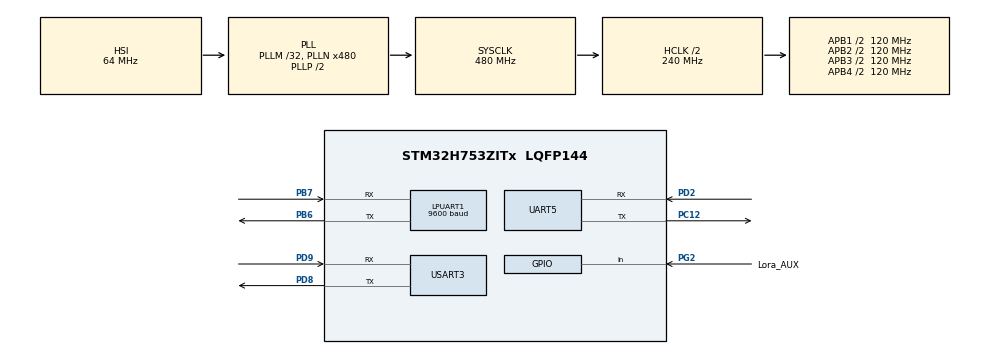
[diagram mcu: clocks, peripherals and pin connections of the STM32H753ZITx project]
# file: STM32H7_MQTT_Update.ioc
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Bdma.LPUART1_RX.0.Direction=DMA_PERIPH_TO_MEMORY
Bdma.LPUART1_RX.0.EventEnable=DISABLE
Bdma.LPUART1_RX.0.Instance=BDMA_Channel0
Bdma.LPUART1_RX.0.MemDataAlignment=DMA_MDATAALIGN_BYTE
Bdma.LPUART1_RX.0.MemInc=DMA_MINC_ENABLE
Bdma.LPUART1_RX.0.Mode=DMA_NORMAL
Bdma.LPUART1_RX.0.PeriphDataAlignment=DMA_PDATAALIGN_BYTE
Bdma.LPUART1_RX.0.PeriphInc=DMA_PINC_DISABLE
Bdma.LPUART1_RX.0.Polarity=HAL_DMAMUX_REQ_GEN_RISING
Bdma.LPUART1_RX.0.Priority=DMA_PRIORITY_LOW
Bdma.LPUART1_RX.0.RequestNumber=1
Bdma.LPUART1_RX.0.SignalID=NONE
Bdma.LPUART1_RX.0.SyncEnable=DISABLE
Bdma.LPUART1_RX.0.SyncPolarity=HAL_DMAMUX_SYNC_NO_EVENT
Bdma.LPUART1_RX.0.SyncRequestNumber=1
Bdma.LPUART1_RX.0.SyncSignalID=NONE
Bdma.LPUART1_TX.1.Direction=DMA_MEMORY_TO_PERIPH
Bdma.LPUART1_TX.1.EventEnable=DISABLE
Bdma.LPUART1_TX.1.Instance=BDMA_Channel1
Bdma.LPUART1_TX.1.MemDataAlignment=DMA_MDATAALIGN_BYTE
Bdma.LPUART1_TX.1.MemInc=DMA_MINC_ENABLE
Bdma.LPUART1_TX.1.Mode=DMA_NORMAL
Bdma.LPUART1_TX.1.PeriphDataAlignment=DMA_PDATAALIGN_BYTE
Bdma.LPUART1_TX.1.PeriphInc=DMA_PINC_DISABLE
Bdma.LPUART1_TX.1.Polarity=HAL_DMAMUX_REQ_GEN_RISING
Bdma.LPUART1_TX.1.Priority=DMA_PRIORITY_LOW
Bdma.LPUART1_TX.1.RequestNumber=1
Bdma.LPUART1_TX.1.SignalID=NONE
Bdma.LPUART1_TX.1.SyncEnable=DISABLE
Bdma.LPUART1_TX.1.SyncPolarity=HAL_DMAMUX_SYNC_NO_EVENT
Bdma.LPUART1_TX.1.SyncRequestNumber=1
Bdma.LPUART1_TX.1.SyncSignalID=NONE
Bdma.Request0=LPUART1_RX
Bdma.Request1=LPUART1_TX
Bdma.RequestsNb=2
CORTEX_M7.CPU_DCache=Enabled
CORTEX_M7.CPU_ICache=Enabled
CORTEX_M7.default_mode_Activation=1
Dma.Request0=UART5_RX
Dma.UART5_RX.0.Direction=DMA_PERIPH_TO_MEMORY
Dma.UART5_RX.0.EventEnable=DISABLE
Dma.UART5_RX.0.FIFOMode=DMA_FIFOMODE_DISABLE
Dma.UART5_RX.0.Instance=DMA1_Stream0
Dma.UART5_RX.0.MemDataAlignment=DMA_MDATAALIGN_BYTE
Dma.UART5_RX.0.MemInc=DMA_MINC_ENABLE
Dma.UART5_RX.0.Mode=DMA_NORMAL
Dma.UART5_RX.0.PeriphDataAlignment=DMA_PDATAALIGN_BYTE
Dma.UART5_RX.0.PeriphInc=DMA_PINC_DISABLE
Dma.UART5_RX.0.Polarity=HAL_DMAMUX_REQ_GEN_RISING
Dma.UART5_RX.0.Priority=DMA_PRIORITY_LOW
Dma.UART5_RX.0.RequestNumber=1
Dma.UART5_RX.0.SignalID=NONE
Dma.UART5_RX.0.SyncEnable=DISABLE
Dma.UART5_RX.0.SyncPolarity=HAL_DMAMUX_SYNC_NO_EVENT
Dma.UART5_RX.0.SyncRequestNumber=1
Dma.UART5_RX.0.SyncSignalID=NONE
FREERTOS.Tasks01=defaultTask,24,1024,StartDefaultTask,Default,NULL,Dynamic,NULL,NULL
FREERTOS.configCHECK_FOR_STACK_OVERFLOW=2
FREERTOS.configTOTAL_HEAP_SIZE=40960
LPUART1.BaudRate=9600
Mcu.Family=STM32H7
Mcu.Name=STM32H753ZITx
Mcu.Package=LQFP144
NVIC.BDMA_Channel0_IRQn=true\:5\:0\:false\:false\:true\:true\:false\:true\:true
NVIC.BDMA_Channel1_IRQn=true\:5\:0\:false\:false\:true\:true\:false\:true\:true
NVIC.DMA1_Stream0_IRQn=true\:5\:0\:false\:false\:true\:true\:false\:true\:true
NVIC.LPUART1_IRQn=true\:5\:0\:false\:false\:true\:true\:true\:true\:true
NVIC.PriorityGroup=NVIC_PRIORITYGROUP_4
NVIC.TIM6_DAC_IRQn=true\:15\:0\:false\:false\:true\:false\:false\:true\:true
NVIC.TimeBase=TIM6_DAC_IRQn
NVIC.TimeBaseIP=TIM6
NVIC.UART5_IRQn=true\:5\:0\:false\:false\:true\:true\:true\:true\:true
PA13\ (JTMS/SWDIO).Mode=Serial_Wire
PA13\ (JTMS/SWDIO).Signal=DEBUG_JTMS-SWDIO
PA14\ (JTCK/SWCLK).Mode=Serial_Wire
PA14\ (JTCK/SWCLK).Signal=DEBUG_JTCK-SWCLK
PB6.Mode=Asynchronous
PB6.Signal=LPUART1_TX
PB7.Mode=Asynchronous
PB7.Signal=LPUART1_RX
PC12.Mode=Asynchronous
PC12.Signal=UART5_TX
PC14-OSC32_IN\ (OSC32_IN).Mode=LSE-External-Oscillator
PC14-OSC32_IN\ (OSC32_IN).Signal=RCC_OSC32_IN
PC15-OSC32_OUT\ (OSC32_OUT).Mode=LSE-External-Oscillator
PC15-OSC32_OUT\ (OSC32_OUT).Signal=RCC_OSC32_OUT
PD2.Mode=Asynchronous
PD2.Signal=UART5_RX
PD8.Mode=Asynchronous
PD8.Signal=USART3_TX
PD9.Mode=Asynchronous
PD9.Signal=USART3_RX
PG2.GPIO_Label=Lora_AUX
PG2.GPIO_PuPd=GPIO_PULLUP
PG2.Signal=GPIO_Input
PH0-OSC_IN\ (PH0).Mode=HSE-External-Clock-Source
PH0-OSC_IN\ (PH0).Signal=RCC_OSC_IN
ProjectManager.HeapSize=0x800
ProjectManager.StackSize=0x800
ProjectManager.TargetToolchain=CMake
RCC.ADCFreq_Value=129000000
RCC.APB1Freq_Value=120000000
RCC.APB2Freq_Value=120000000
RCC.APB3Freq_Value=120000000
RCC.APB4Freq_Value=120000000
RCC.CortexFreq_Value=480000000
RCC.D1PPRE=RCC_APB3_DIV2
RCC.D2PPRE1=RCC_APB1_DIV2
RCC.D2PPRE2=RCC_APB2_DIV2
RCC.D3PPRE=RCC_APB4_DIV2
RCC.DIVN1=480
RCC.HCLKFreq_Value=240000000
RCC.HPRE=RCC_HCLK_DIV2
RCC.HSE_VALUE=8000000
RCC.LPUART1CLockSelection=RCC_LPUART1CLKSOURCE_LSE
RCC.SYSCLKFreq_VALUE=480000000
RCC.SYSCLKSource=RCC_SYSCLKSOURCE_PLLCLK
RCC.USBFreq_Value=480000000
STMicroelectronics.X-CUBE-AI.10.2.0.ActivationBufferSizeList=2100
STMicroelectronics.X-CUBE-AI.10.2.0.ActivationBuffers=pool0
STMicroelectronics.X-CUBE-AI.10.2.0.ActivationNames=pool0
STMicroelectronics.X-CUBE-AI.10.2.0.ActivationSizes=AI_FARM_AI_DATA_ACTIVATION_1_SIZE
STMicroelectronics.X-CUBE-AI.10.2.0.HeapSize=0x800
STMicroelectronics.X-CUBE-AI.10.2.0.InternalRamActivationBufferMaxSize=AI_FARM_AI_DATA_ACTIVATIONS_SIZE
STMicroelectronics.X-CUBE-AI.10.2.0.LatestDirectoryUsed-e6167a8946215340fb5c40464bc6d3310cde0bbccf74e58a0443c29fbbd5c75b=D\:\\CubeMX\\pythonProject1\\Project\\.venv
STMicroelectronics.X-CUBE-AI.10.2.0.MaximumNumberOfInputLayer=1
STMicroelectronics.X-CUBE-AI.10.2.0.MaximumNumberOfOutputLayer=1
STMicroelectronics.X-CUBE-AI.10.2.0.MaximumSizeOfInputLayer=1
STMicroelectronics.X-CUBE-AI.10.2.0.MaximumSizeOfOutputLayer=1
STMicroelectronics.X-CUBE-AI.10.2.0.ModelActualCompression-e6167a8946215340fb5c40464bc6d3310cde0bbccf74e58a0443c29fbbd5c75b=0.0
STMicroelectronics.X-CUBE-AI.10.2.0.ModelCompression-e6167a8946215340fb5c40464bc6d3310cde0bbccf74e58a0443c29fbbd5c75b=None
STMicroelectronics.X-CUBE-AI.10.2.0.ModelFlashOccupation-e6167a8946215340fb5c40464bc6d3310cde0bbccf74e58a0443c29fbbd5c75b=12860
STMicroelectronics.X-CUBE-AI.10.2.0.ModelHashList=e6167a8946215340fb5c40464bc6d3310cde0bbccf74e58a0443c29fbbd5c75b
STMicroelectronics.X-CUBE-AI.10.2.0.ModelKind-e6167a8946215340fb5c40464bc6d3310cde0bbccf74e58a0443c29fbbd5c75b=TFLITE
STMicroelectronics.X-CUBE-AI.10.2.0.ModelMacc-e6167a8946215340fb5c40464bc6d3310cde0bbccf74e58a0443c29fbbd5c75b=424
STMicroelectronics.X-CUBE-AI.10.2.0.ModelName-e6167a8946215340fb5c40464bc6d3310cde0bbccf74e58a0443c29fbbd5c75b=farm_ai
STMicroelectronics.X-CUBE-AI.10.2.0.ModelNameList=farm_ai
STMicroelectronics.X-CUBE-AI.10.2.0.ModelRamOccupation-e6167a8946215340fb5c40464bc6d3310cde0bbccf74e58a0443c29fbbd5c75b=2100
STMicroelectronics.X-CUBE-AI.10.2.0.ModelStructureFile-e6167a8946215340fb5c40464bc6d3310cde0bbccf74e58a0443c29fbbd5c75b=D\:\\CubeMX\\pythonProject1\\Project\\.venv\\farm_ai_multiclass.tflite
STMicroelectronics.X-CUBE-AI.10.2.0.ModelType-e6167a8946215340fb5c40464bc6d3310cde0bbccf74e58a0443c29fbbd5c75b=STM32Cube.AI MCU runtime
STMicroelectronics.X-CUBE-AI.10.2.0.ReadyForCodeGeneration=true
STMicroelectronics.X-CUBE-AI.10.2.0.StackSize=0x800
STMicroelectronics.X-CUBE-AI.10.2.0.WorkingBufferStartAddrList=0xFFFFFFFF
STMicroelectronics.X-CUBE-AI.10.2.0.XAaCUBEAaAICcArtificialOoIntelligenceJjCore=true
STMicroelectronics.X-CUBE-AI.10.2.0.copyWeightToRam-e6167a8946215340fb5c40464bc6d3310cde0bbccf74e58a0443c29fbbd5c75b=false
STMicroelectronics.X-CUBE-AI.10.2.0.customLayerConfigEnabled-e6167a8946215340fb5c40464bc6d3310cde0bbccf74e58a0443c29fbbd5c75b=false
STMicroelectronics.X-CUBE-AI.10.2.0.noOnnxIoTranspose-e6167a8946215340fb5c40464bc6d3310cde0bbccf74e58a0443c29fbbd5c75b=false
STMicroelectronics.X-CUBE-AI.10.2.0.useInputAllocation-e6167a8946215340fb5c40464bc6d3310cde0bbccf74e58a0443c29fbbd5c75b=true
STMicroelectronics.X-CUBE-AI.10.2.0.useOutputAllocation-e6167a8946215340fb5c40464bc6d3310cde0bbccf74e58a0443c29fbbd5c75b=true
UART5.FIFOMode=FIFOMODE_ENABLE
USART3.FIFOMode=FIFOMODE_ENABLE
USART3.VirtualMode-Asynchronous=VM_ASYNC
VP_FREERTOS_VS_CMSIS_V2.Mode=CMSIS_V2
VP_MEMORYMAP_VS_MEMORYMAP.Mode=CurAppReg
VP_STMicroelectronics.X-CUBE-AI_VS_ArtificialOoIntelligenceJjXAaCUBEAaAI_10.2.0.Mode=ArtificialOoIntelligenceJjXAaCUBEAaAI
VP_SYS_VS_tim6.Mode=TIM6
board=custom

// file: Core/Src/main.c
/* USER CODE BEGIN Header */
/**
  ******************************************************************************
  * @file           : main.c
  * @brief          : Main program body
  ******************************************************************************
  * @attention
  *
  * Copyright (c) 2026 STMicroelectronics.
  * All rights reserved.
  *
  * This software is licensed under terms that can be found in the LICENSE file
  * in the root directory of this software component.
  * If no LICENSE file comes with this software, it is provided AS-IS.
  *
  ******************************************************************************
  */
/* USER CODE END Header */
#include "main.h"
#include "cmsis_os.h"
#include "bdma.h"
#include "cmsis_os2.h"
#include "dma.h"
#include "usart.h"
#include "gpio.h"

/* USER CODE BEGIN Includes */
#include "Uart.h"
#include <stdint.h>
#include <stdio.h>
#include <string.h>
#include <sys/_types.h>
#include "string.h"
#include "Lora.h"
#include "mqtt_port.h"
#include "init.h"
/* USER CODE END Includes */

void SystemClock_Config(void);
static void MPU_Config(void);
void MX_FREERTOS_Init(void);

/* USER CODE BEGIN 0 */
#define DMA_RX_SIZE 256
#define DMA_lora_size 14
__attribute__((aligned(32))) uint8_t dma_rx_buf[DMA_RX_SIZE];
extern uint8_t lora_flag;
extern uint8_t lora_size;
extern uint8_t *lora_raw_buf;

//创建任务消息队列,把数据传进lora_task

extern osMessageQueueId_t sizequeue;
/* USER CODE END 0 */

int main(void)
{

  /* MPU Configuration--------------------------------------------------------*/
  MPU_Config();

  /* Enable the CPU Cache */

  /* Enable I-Cache---------------------------------------------------------*/
  SCB_EnableICache();

  /* Enable D-Cache---------------------------------------------------------*/
  SCB_EnableDCache();

  /* MCU Configuration--------------------------------------------------------*/

  /* Reset of all peripherals, Initializes the Flash interface and the Systick. */
  HAL_Init();

  /* Configure the system clock */
  SystemClock_Config();

  /* Initialize all configured peripherals */
  MX_GPIO_Init();
  MX_BDMA_Init();
  MX_DMA_Init();
  MX_USART3_UART_Init();
  MX_LPUART1_UART_Init();
  MX_UART5_Init();
  /* USER CODE BEGIN 2 */
  setvbuf(stdout, NULL, _IONBF, 0);
  // test2 = crc8_calc_shift(test1,13);
  HAL_Delay(100);  /* 等数据从 TX FIFO 发完 */
  //启动mqtt空闲中断接收
  HAL_UARTEx_ReceiveToIdle_DMA(&huart5, dma_rx_buf, DMA_RX_SIZE);
  /* USER CODE END 2 */

  /* Init scheduler */
  osKernelInitialize();  /* Call init function for freertos objects (in cmsis_os2.c) */
  MX_FREERTOS_Init();

  /* Start scheduler */
  osKernelStart();

  /* We should never get here as control is now taken by the scheduler */

  /* Infinite loop */
  while (1)
  {

  }
}

void SystemClock_Config(void)
{
  RCC_OscInitTypeDef RCC_OscInitStruct = {0};
  RCC_ClkInitTypeDef RCC_ClkInitStruct = {0};

  /** Supply configuration update enable
  */
  HAL_PWREx_ConfigSupply(PWR_LDO_SUPPLY);

  /** Configure the main internal regulator output voltage
  */
  __HAL_PWR_VOLTAGESCALING_CONFIG(PWR_REGULATOR_VOLTAGE_SCALE0);

  while(!__HAL_PWR_GET_FLAG(PWR_FLAG_VOSRDY)) {}

  /** Configure LSE Drive Capability
  */
  HAL_PWR_EnableBkUpAccess();
  __HAL_RCC_LSEDRIVE_CONFIG(RCC_LSEDRIVE_LOW);

  /** Initializes the RCC Oscillators according to the specified parameters
  * in the RCC_OscInitTypeDef structure.
  */
  RCC_OscInitStruct.OscillatorType = RCC_OSCILLATORTYPE_HSI|RCC_OSCILLATORTYPE_LSE;
  RCC_OscInitStruct.LSEState = RCC_LSE_ON;
  RCC_OscInitStruct.HSIState = RCC_HSI_DIV1;
  RCC_OscInitStruct.HSICalibrationValue = RCC_HSICALIBRATION_DEFAULT;
  RCC_OscInitStruct.PLL.PLLState = RCC_PLL_ON;
  RCC_OscInitStruct.PLL.PLLSource = RCC_PLLSOURCE_HSI;
  RCC_OscInitStruct.PLL.PLLM = 32;
  RCC_OscInitStruct.PLL.PLLN = 480;
  RCC_OscInitStruct.PLL.PLLP = 2;
  RCC_OscInitStruct.PLL.PLLQ = 2;
  RCC_OscInitStruct.PLL.PLLR = 2;
  RCC_OscInitStruct.PLL.PLLRGE = RCC_PLL1VCIRANGE_1;
  RCC_OscInitStruct.PLL.PLLVCOSEL = RCC_PLL1VCOWIDE;
  RCC_OscInitStruct.PLL.PLLFRACN = 0;
  if (HAL_RCC_OscConfig(&RCC_OscInitStruct) != HAL_OK)
  {
    Error_Handler();
  }

  /** Initializes the CPU, AHB and APB buses clocks
  */
  RCC_ClkInitStruct.ClockType = RCC_CLOCKTYPE_HCLK|RCC_CLOCKTYPE_SYSCLK
                              |RCC_CLOCKTYPE_PCLK1|RCC_CLOCKTYPE_PCLK2
                              |RCC_CLOCKTYPE_D3PCLK1|RCC_CLOCKTYPE_D1PCLK1;
  RCC_ClkInitStruct.SYSCLKSource = RCC_SYSCLKSOURCE_PLLCLK;
  RCC_ClkInitStruct.SYSCLKDivider = RCC_SYSCLK_DIV1;
  RCC_ClkInitStruct.AHBCLKDivider = RCC_HCLK_DIV2;
  RCC_ClkInitStruct.APB3CLKDivider = RCC_APB3_DIV2;
  RCC_ClkInitStruct.APB1CLKDivider = RCC_APB1_DIV2;
  RCC_ClkInitStruct.APB2CLKDivider = RCC_APB2_DIV2;
  RCC_ClkInitStruct.APB4CLKDivider = RCC_APB4_DIV2;

  if (HAL_RCC_ClockConfig(&RCC_ClkInitStruct, FLASH_LATENCY_4) != HAL_OK)
  {
    Error_Handler();
  }
}

/* USER CODE BEGIN 4 */
void HAL_UARTEx_RxEventCallback(UART_HandleTypeDef *huart, uint16_t Size)
{
    // 1. 处理 LPUART1 (LoRa 模块) 的数据
    if (huart->Instance == LPUART1)
    {
      uint32_t current_size = Size;
      SCB_InvalidateDCache_by_Addr((uint32_t *)lora_raw_buf, 256);
      osMessageQueuePut(sizequeue,&current_size,0,0);
      HAL_UARTEx_ReceiveToIdle_DMA(&hlpuart1, lora_raw_buf, 256);
    }

    // 2. 处理 UART5 (AIR780E MQTT) 的数据
    else if (huart->Instance == UART5)
    {
        static uint32_t cb_count = 0;
        cb_count++;
        // 强制无效化 D-Cache，提取 DMA 写入物理内存的真实数据
        SCB_InvalidateDCache_by_Addr((uint32_t *)dma_rx_buf, Size);

        RingBuf_Write(dma_rx_buf, Size);

        HAL_UARTEx_ReceiveToIdle_DMA(&huart5, dma_rx_buf, DMA_RX_SIZE);
    }
}
void HAL_UART_ErrorCallback(UART_HandleTypeDef *huart)
{
  if (huart->Instance == LPUART1)
  {
    printf("[LoRa] UART Error Code: 0x%02lX\r\n", huart->ErrorCode);
    HAL_UARTEx_ReceiveToIdle_DMA(&hlpuart1, lora_raw_buf, 256);
  }
}
/* USER CODE END 4 */

 /* MPU Configuration */

void MPU_Config(void)
{
  MPU_Region_InitTypeDef MPU_InitStruct = {0};

  /* Disables the MPU */
  HAL_MPU_Disable();

  /** Initializes and configures the Region and the memory to be protected
  */
  MPU_InitStruct.Enable = MPU_REGION_ENABLE;
  MPU_InitStruct.Number = MPU_REGION_NUMBER0;
  MPU_InitStruct.BaseAddress = 0x0;
  MPU_InitStruct.Size = MPU_REGION_SIZE_4GB;
  MPU_InitStruct.SubRegionDisable = 0x87;
  MPU_InitStruct.TypeExtField = MPU_TEX_LEVEL0;
  MPU_InitStruct.AccessPermission = MPU_REGION_NO_ACCESS;
  MPU_InitStruct.DisableExec = MPU_INSTRUCTION_ACCESS_DISABLE;
  MPU_InitStruct.IsShareable = MPU_ACCESS_SHAREABLE;
  MPU_InitStruct.IsCacheable = MPU_ACCESS_NOT_CACHEABLE;
  MPU_InitStruct.IsBufferable = MPU_ACCESS_NOT_BUFFERABLE;

  HAL_MPU_ConfigRegion(&MPU_InitStruct);
  /* Enables the MPU */
  HAL_MPU_Enable(MPU_PRIVILEGED_DEFAULT);

}

void HAL_TIM_PeriodElapsedCallback(TIM_HandleTypeDef *htim)
{
  if (htim->Instance == TIM6)
  {
    HAL_IncTick();
  }
}

void Error_Handler(void)
{
  __disable_irq();
  while (1)
  {
  }
}

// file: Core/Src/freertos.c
/* USER CODE BEGIN Header */
/**
  ******************************************************************************
  * File Name          : freertos.c
  * Description        : Code for freertos applications
  ******************************************************************************
  * @attention
  *
  * Copyright (c) 2026 STMicroelectronics.
  * All rights reserved.
  *
  * This software is licensed under terms that can be found in the LICENSE file
  * in the root directory of this software component.
  * If no LICENSE file comes with this software, it is provided AS-IS.
  *
  ******************************************************************************
  */
/* USER CODE END Header */

#include "FreeRTOS.h"
#include "task.h"
#include "main.h"
#include "cmsis_os.h"

/* USER CODE BEGIN Includes */
#include "MQTT.h"
#include "Uart.h"
#include "Lora.h"
#include "init.h"
#include <string.h>
#include "Edge_ai_app.h"
/* USER CODE END Includes */

/* USER CODE BEGIN PTD */
extern uint8_t *lora_rx_buf;
/* USER CODE END PTD */

/* Definitions for defaultTask */
osThreadId_t defaultTaskHandle;
const osThreadAttr_t defaultTask_attributes = {
  .name = "defaultTask",
  .stack_size = 1024 * 4,
  .priority = (osPriority_t) osPriorityNormal,
};

/* USER CODE BEGIN FunctionPrototypes */
osThreadId_t mqttTaskHandle;
const osThreadAttr_t mqttTask_attributes = {
  .name = "mqttTask",
  .stack_size = 1024*4,
  .priority = (osPriority_t) osPriorityNormal,
};

osThreadId_t aiTaskHandle;
const osThreadAttr_t aiTask_attributes = {
  .name = "aiTask",
  .stack_size = 1024*4,
  .priority = (osPriority_t) osPriorityNormal,
};

osThreadId_t loraTaskHandle;
const osThreadAttr_t loraTask_attributes = {
  .name = "loraTask",
  .stack_size = 1024*4,
  .priority = (osPriority_t) osPriorityNormal,
};

osThreadId_t initTaskHandle;
const osThreadAttr_t initTask_attributes = {
  .name = "initTask",
  .stack_size = 1024*4,
  .priority = (osPriority_t) osPriorityNormal+1,
};

/* USER CODE END FunctionPrototypes */

void StartDefaultTask(void *argument);

void MX_FREERTOS_Init(void); /* (MISRA C 2004 rule 8.1) */

/* Hook prototypes */
void vApplicationStackOverflowHook(xTaskHandle xTask, signed char *pcTaskName);

/* USER CODE BEGIN 4 */
/* 查找堆栈溢出钩子函数 */
void vApplicationStackOverflowHook(xTaskHandle xTask, signed char *pcTaskName)
{
   /* Run time stack overflow checking is performed if
   configCHECK_FOR_STACK_OVERFLOW is defined to 1 or 2. This hook function is
   called if a stack overflow is detected. */
  printf("Stack Overflow in Task: %s\r\n", pcTaskName);
}
/* USER CODE END 4 */

void MX_FREERTOS_Init(void) {

  /* Create the thread(s) */
  /* creation of defaultTask */
  defaultTaskHandle = osThreadNew(StartDefaultTask, NULL, &defaultTask_attributes);

  /* USER CODE BEGIN RTOS_THREADS */
  /* add threads, ... */
  mqttTaskHandle = osThreadNew(mqttTask,NULL, &mqttTask_attributes);
  aiTaskHandle   = osThreadNew(aiTask,NULL, &mqttTask_attributes);
  loraTaskHandle = osThreadNew(loraTask, NULL, &loraTask_attributes);
  initTaskHandle = osThreadNew(initTask, NULL, &initTask_attributes);

  /* USER CODE END RTOS_THREADS */

}

void StartDefaultTask(void *argument)
{
  /* USER CODE BEGIN StartDefaultTask */
  /* 诊断：确认任务调度成功 */
  printf("\r\n>>> TASK: StartDefaultTask is running! <<<\r\n");
  vTaskDelete(NULL);
  /* Infinite loop */
  // MQTT_Task_Entry();
  /* USER CODE END StartDefaultTask */
}
